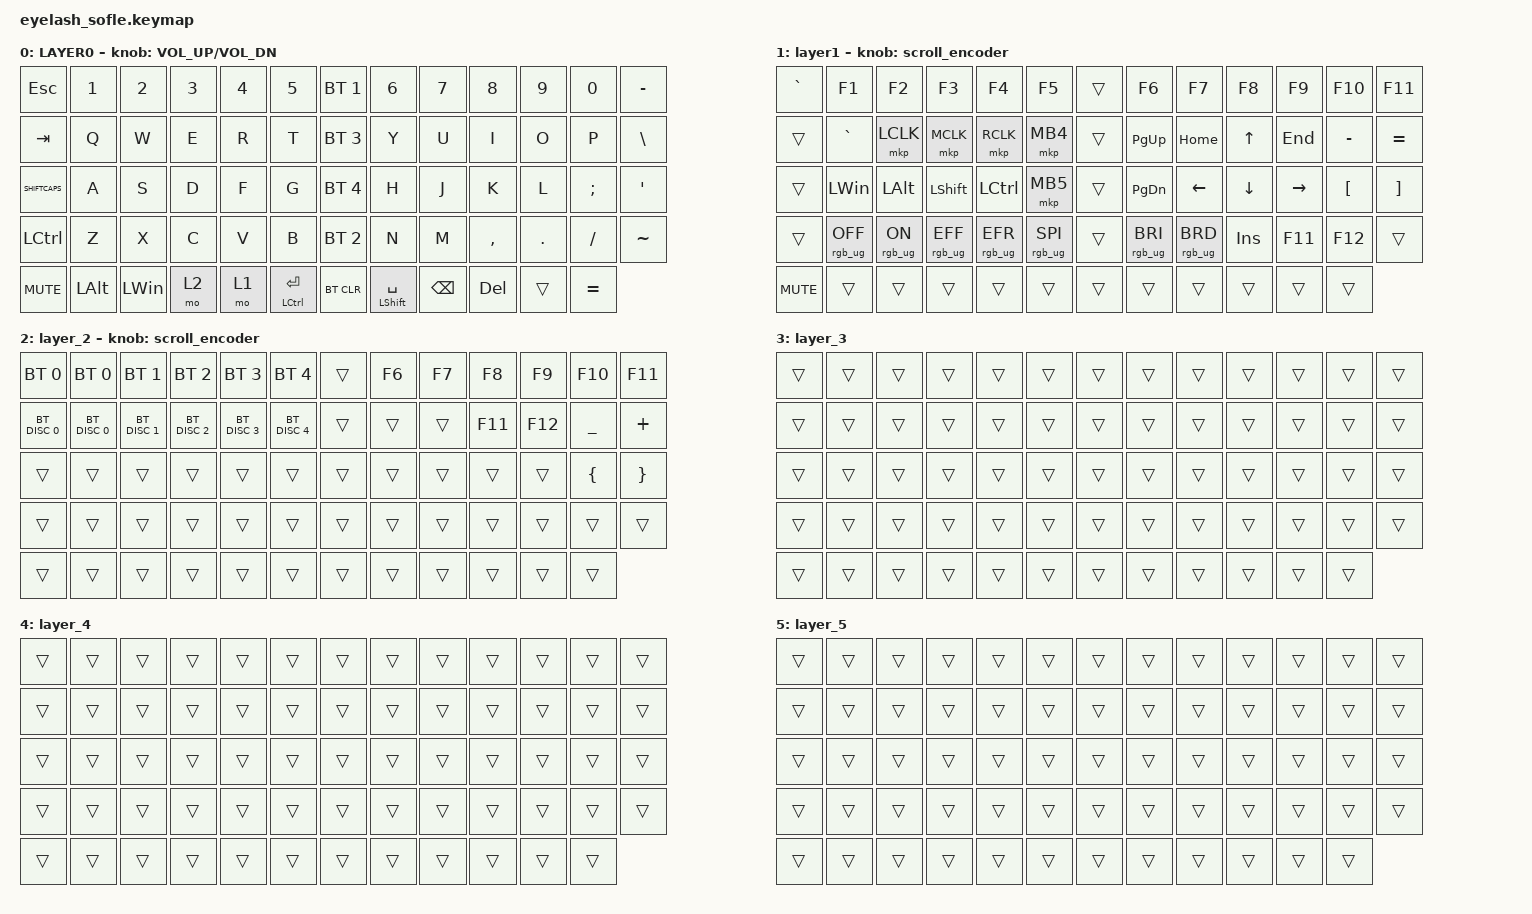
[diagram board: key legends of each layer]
#define ZMK_POINTING_DEFAULT_MOVE_VAL 1200  // 600
#define ZMK_POINTING_DEFAULT_SCRL_VAL 25   // 10

#include <input/processors.dtsi>
#include <zephyr/dt-bindings/input/input-event-codes.h>
#include <behaviors.dtsi>
#include <dt-bindings/zmk/bt.h>
#include <dt-bindings/zmk/keys.h>
#include <dt-bindings/zmk/pointing.h>
#include <dt-bindings/zmk/rgb.h>

&mmv_input_listener { input-processors = <&zip_xy_scaler 2 1>; };

&msc_input_listener { input-processors = <&zip_scroll_scaler 2 1>; };

&msc {
    acceleration-exponent = <1>;      // 0
    time-to-max-speed-ms = <100>;       // 300
    delay-ms = <0>;                   // 0
};

&mmv {
    time-to-max-speed-ms = <500>;
    acceleration-exponent = <1>;
    trigger-period-ms = <16>;
};

/ {
    scroll_encoder: scroll_encoder {
        compatible = "zmk,behavior-sensor-rotate";
        #sensor-binding-cells = <0>;
        bindings = <&msc SCRL_DOWN>, <&msc SCRL_UP>;

        tap-ms = <100>;
    };

    HMR: HMR {
        compatible = "zmk,behavior-hold-tap";
        label = "HMR";
        bindings = <&kp>, <&kp>;

        #binding-cells = <2>;
        flavor = "balanced";
        tapping-term-ms = <180>;
        quick-tap-ms = <175>;
        hold-trigger-key-positions = <0 1 2 3 4 5 13 14 15 16 17 18 26 27 28 29 30 31 39 40 41 42 43 44 52 53 54 55 56 57 59 60 61 62 63>;
        hold-trigger-on-release;
    };

    HML: HML {
        compatible = "zmk,behavior-hold-tap";
        label = "HML";
        bindings = <&kp>, <&kp>;

        #binding-cells = <2>;
        tapping-term-ms = <180>;
        quick-tap-ms = <175>;
        flavor = "balanced";
        hold-trigger-key-positions = <7 8 9 10 11 12 20 21 22 23 24 25 33 34 35 36 37 38 46 47 48 49 50 51 60 61 62 63 59 57 56 55 54 53>;
        hold-trigger-on-release;
    };

    SHIFTCAPS: SHIFTCAPS {
        compatible = "zmk,behavior-tap-dance";
        label = "SHIFTCAPS";
        #binding-cells = <0>;
        bindings = <&kp LEFT_SHIFT>, <&kp CAPSLOCK>;
    };

    behaviors {
    };

    keymap {
        compatible = "zmk,keymap";

        layer0 {
            bindings = <
&kp ESC           &kp N1        &kp N2        &kp N3  &kp N4  &kp N5                    &bt BT_SEL 1  &kp N6                &kp N7         &kp N8      &kp N9   &kp N0         &kp MINUS
&kp TAB           &kp Q         &kp W         &kp E   &kp R   &kp T                     &bt BT_SEL 3  &kp Y                 &kp U          &kp I       &kp O    &kp P          &kp BSLH
&SHIFTCAPS        &kp A         &kp S         &kp D   &kp F   &kp G                     &bt BT_SEL 4  &kp H                 &kp J          &kp K       &kp L    &kp SEMICOLON  &kp APOS
&kp LEFT_CONTROL  &kp Z         &kp X         &kp C   &kp V   &kp B                     &bt BT_SEL 2  &kp N                 &kp M          &kp COMMA   &kp DOT  &kp FSLH       &kp TILDE
&kp C_MUTE        &kp LEFT_ALT  &kp LEFT_WIN  &mo 2   &mo 1   &mt LEFT_CONTROL ENTER    &bt BT_CLR    &mt LEFT_SHIFT SPACE  &kp BACKSPACE  &kp DELETE  &trans   &kp EQUAL
            >;

            sensor-bindings = <&inc_dec_kp C_VOLUME_UP C_VOL_DN>;
            display-name = "LAYER0";
        };

        layer_1 {
            bindings = <
&kp GRAVE   &kp F1           &kp F2          &kp F3           &kp F4            &kp F5             &trans  &kp F6           &kp F7           &kp F8      &kp F9     &kp F10           &kp F11
&trans      &kp GRAVE        &mkp LCLK       &mkp MCLK        &mkp RCLK         &mkp MB4           &trans  &kp PG_UP        &kp HOME         &kp UP      &kp END    &kp MINUS         &kp EQUAL
&trans      &kp LEFT_WIN     &kp LEFT_ALT    &kp LEFT_SHIFT   &kp LEFT_CONTROL  &mkp MB5           &trans  &kp PG_DN        &kp LEFT         &kp DOWN    &kp RIGHT  &kp LEFT_BRACKET  &kp RIGHT_BRACKET
&trans      &rgb_ug RGB_OFF  &rgb_ug RGB_ON  &rgb_ug RGB_EFF  &rgb_ug RGB_EFR   &rgb_ug RGB_SPI    &trans  &rgb_ug RGB_BRI  &rgb_ug RGB_BRD  &kp INSERT  &kp F11    &kp F12           &trans
&kp C_MUTE  &trans           &trans          &trans           &trans            &trans             &trans  &trans           &trans           &trans      &trans     &trans
            >;

            display-name = "layer1";
            sensor-bindings = <&scroll_encoder>;
        };

        layer_2 {
            bindings = <
&bt BT_SEL 0   &bt BT_SEL 0   &bt BT_SEL 1   &bt BT_SEL 2   &bt BT_SEL 3   &bt BT_SEL 4     &trans  &kp F6  &kp F7  &kp F8   &kp F9   &kp F10    &kp F11
&bt BT_DISC 0  &bt BT_DISC 0  &bt BT_DISC 1  &bt BT_DISC 2  &bt BT_DISC 3  &bt BT_DISC 4    &trans  &trans  &trans  &kp F11  &kp F12  &kp UNDER  &kp PLUS
&trans         &trans         &trans         &trans         &trans         &trans           &trans  &trans  &trans  &trans   &trans   &kp LBRC   &kp RBRC
&trans         &trans         &trans         &trans         &trans         &trans           &trans  &trans  &trans  &trans   &trans   &trans     &trans
&trans         &trans         &trans         &trans         &trans         &trans           &trans  &trans  &trans  &trans   &trans   &trans
            >;

            sensor-bindings = <&scroll_encoder>;
        };

        layer_3 {
            bindings = <
&trans  &trans  &trans  &trans  &trans  &trans    &trans  &trans  &trans  &trans  &trans  &trans  &trans
&trans  &trans  &trans  &trans  &trans  &trans    &trans  &trans  &trans  &trans  &trans  &trans  &trans
&trans  &trans  &trans  &trans  &trans  &trans    &trans  &trans  &trans  &trans  &trans  &trans  &trans
&trans  &trans  &trans  &trans  &trans  &trans    &trans  &trans  &trans  &trans  &trans  &trans  &trans
&trans  &trans  &trans  &trans  &trans  &trans    &trans  &trans  &trans  &trans  &trans  &trans
            >;
        };

        layer_4 {
            bindings = <
&trans  &trans  &trans  &trans  &trans  &trans    &trans  &trans  &trans  &trans  &trans  &trans  &trans
&trans  &trans  &trans  &trans  &trans  &trans    &trans  &trans  &trans  &trans  &trans  &trans  &trans
&trans  &trans  &trans  &trans  &trans  &trans    &trans  &trans  &trans  &trans  &trans  &trans  &trans
&trans  &trans  &trans  &trans  &trans  &trans    &trans  &trans  &trans  &trans  &trans  &trans  &trans
&trans  &trans  &trans  &trans  &trans  &trans    &trans  &trans  &trans  &trans  &trans  &trans
            >;
        };

        layer_5 {
            bindings = <
&trans  &trans  &trans  &trans  &trans  &trans    &trans  &trans  &trans  &trans  &trans  &trans  &trans
&trans  &trans  &trans  &trans  &trans  &trans    &trans  &trans  &trans  &trans  &trans  &trans  &trans
&trans  &trans  &trans  &trans  &trans  &trans    &trans  &trans  &trans  &trans  &trans  &trans  &trans
&trans  &trans  &trans  &trans  &trans  &trans    &trans  &trans  &trans  &trans  &trans  &trans  &trans
&trans  &trans  &trans  &trans  &trans  &trans    &trans  &trans  &trans  &trans  &trans  &trans
            >;
        };
    };
};
